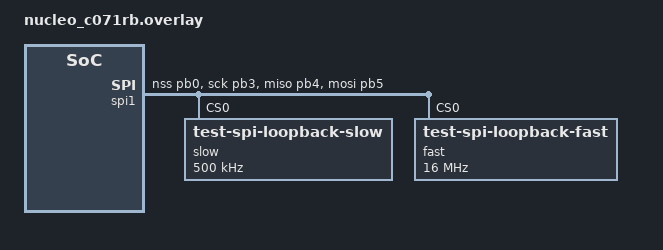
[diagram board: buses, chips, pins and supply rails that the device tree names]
/*
 * Copyright (c) 2025 STMicroelectronics
 *
 * SPDX-License-Identifier: Apache-2.0
 */

&spi1 {
	pinctrl-0 = <&spi1_nss_pb0 &spi1_sck_pb3 &spi1_miso_pb4 &spi1_mosi_pb5>;
	dmas = <&dmamux1 2 17 (STM32_DMA_PERIPH_TX | STM32_DMA_PRIORITY_HIGH)>,
	       <&dmamux1 1 16 (STM32_DMA_PERIPH_RX | STM32_DMA_PRIORITY_HIGH)>;
	dma-names = "tx", "rx";

	slow@0 {
		compatible = "test-spi-loopback-slow";
		reg = <0>;
		spi-max-frequency = <500000>;
	};

	fast@0 {
		compatible = "test-spi-loopback-fast";
		reg = <0>;
		spi-max-frequency = <16000000>;
	};
};

&dma1 {
	status = "okay";
};

&dmamux1 {
	status = "okay";
};
